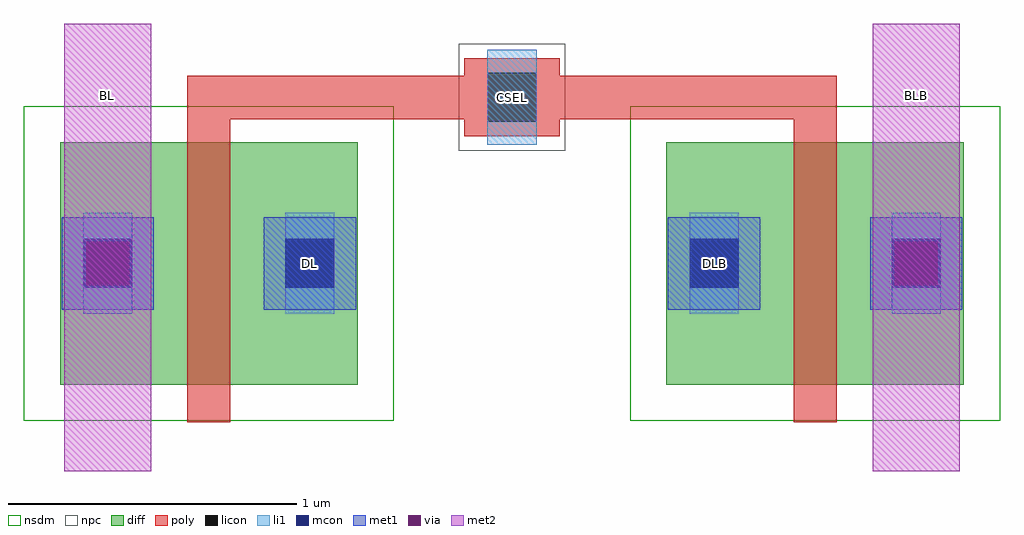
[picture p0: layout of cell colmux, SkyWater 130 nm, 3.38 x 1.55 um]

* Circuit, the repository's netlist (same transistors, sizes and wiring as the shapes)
.subckt colmux bl blb dl dlb csel vss
XXN1 bl csel dl vss sky130_fd_pr__nfet_01v8 L=0.15 W=0.84 nf=1 m=1
XXN2 blb csel dlb vss sky130_fd_pr__nfet_01v8 L=0.15 W=0.84 nf=1 m=1
.ends

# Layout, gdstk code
import gdstk
lib = gdstk.Library(unit=1e-6, precision=1e-09)
def R(c, l, rs):  # rectangles x0, y0, x1, y1
    for r in rs: c.add(gdstk.rectangle(r[:2], r[2:], *l))
diff = (65, 20)
poly = (66, 20)
licon = (66, 44)
li1 = (67, 20)
mcon = (67, 44)
met1 = (68, 20)
via = (68, 44)
met2 = (69, 20)
nsdm = (93, 44)
npc = (95, 20)

colmux = lib.new_cell('colmux')
R(colmux, diff, [(-0.165,0.3,0.865,1.14), (1.935,0.3,2.965,1.14)])
R(colmux, poly, [(0.275,0.17,0.425,1.22), (2.375,0.17,2.525,1.22), (1.235,1.16,1.565,1.22), (0.275,1.22,2.525,1.37), (1.235,1.37,1.565,1.43)])
R(colmux, licon, [(-0.085,0.635,0.085,0.805), (0.615,0.635,0.785,0.805), (2.015,0.635,2.185,0.805), (2.715,0.635,2.885,0.805), (1.315,1.21,1.485,1.38)])
R(colmux, li1, [(-0.085,0.545,0.085,0.895), (0.615,0.545,0.785,0.895), (2.015,0.545,2.185,0.895), (2.715,0.545,2.885,0.895), (1.315,1.13,1.485,1.46)])
R(colmux, mcon, [(-0.085,0.635,0.085,0.805), (0.615,0.635,0.785,0.805), (2.015,0.635,2.185,0.805), (2.715,0.635,2.885,0.805)])
R(colmux, met1, [(-0.16,0.56,0.16,0.88), (0.54,0.56,0.86,0.88), (1.94,0.56,2.26,0.88), (2.64,0.56,2.96,0.88)])
R(colmux, via, [(-0.075,0.645,0.075,0.795), (2.725,0.645,2.875,0.795)])
R(colmux, met2, [(-0.15,0,0.15,1.55), (2.65,0,2.95,1.55)])
R(colmux, nsdm, [(-0.29,0.175,0.99,1.265), (1.81,0.175,3.09,1.265)])
R(colmux, npc, [(1.215,1.11,1.585,1.48)])
colmux.add(gdstk.Label('BL', (0,1.3), layer=69, texttype=5))
colmux.add(gdstk.Label('DL', (0.7,0.72), layer=68, texttype=5))
colmux.add(gdstk.Label('BLB', (2.8,1.3), layer=69, texttype=5))
colmux.add(gdstk.Label('DLB', (2.1,0.72), layer=68, texttype=5))
colmux.add(gdstk.Label('CSEL', (1.4,1.295), layer=67, texttype=5))

lib.write_gds('colmux.gds')
